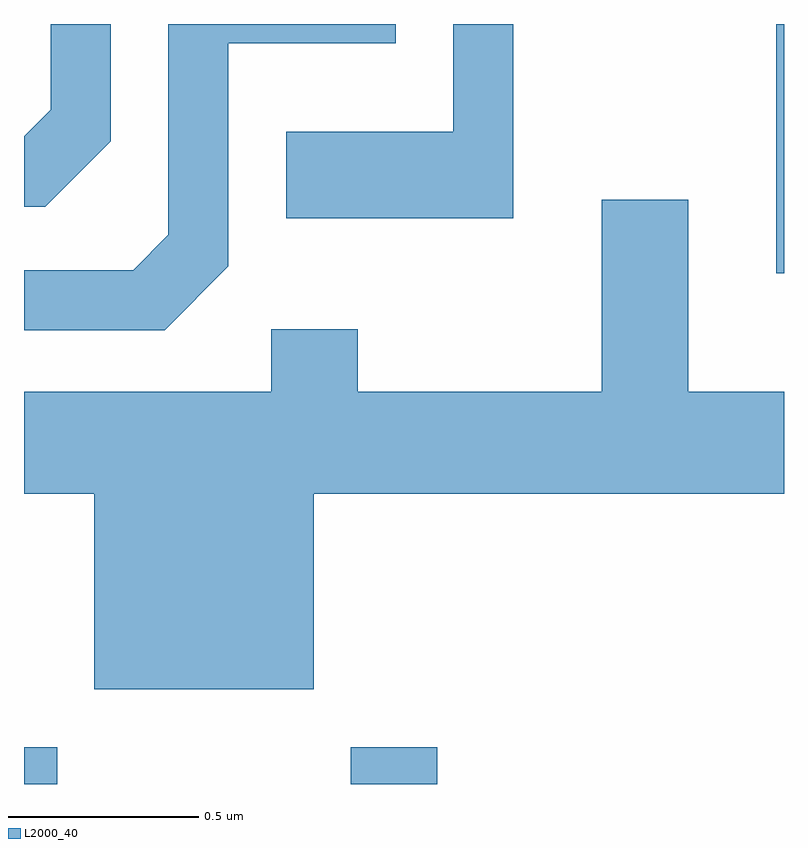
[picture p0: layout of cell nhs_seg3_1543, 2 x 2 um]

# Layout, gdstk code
import gdstk
lib = gdstk.Library(unit=1e-6, precision=1e-09)
def R(c, l, rs):  # rectangles x0, y0, x1, y1
    for r in rs: c.add(gdstk.rectangle(r[:2], r[2:], *l))
def P(c, l, *ps):  # polygons
    for p in ps: c.add(gdstk.Polygon(p, *l))
L2000_40 = (2000, 40)

nhs_seg3_1543 = lib.new_cell('nhs_seg3_1543')
R(nhs_seg3_1543, L2000_40, [(196.611,1151.892,196.699,1151.989), (197.471,1151.892,197.699,1151.989), (198.591,1153.236,198.611,1153.892)])
P(nhs_seg3_1543, L2000_40, [(197.149,1153.254),(197.149,1153.841),(197.589,1153.841),(197.589,1153.892),(196.991,1153.892),(196.991,1153.337),(196.899,1153.244),(196.611,1153.244),(196.611,1153.086),(196.982,1153.086)],
  [(197.899,1153.892),(197.741,1153.892),(197.741,1153.609),(197.301,1153.609),(197.301,1153.381),(197.899,1153.381)],
  [(196.839,1153.584),(196.839,1153.892),(196.681,1153.892),(196.681,1153.667),(196.611,1153.596),(196.611,1153.411),(196.667,1153.411)],
  [(197.374,1152.656),(198.611,1152.656),(198.611,1152.924),(198.359,1152.924),(198.359,1153.429),(198.131,1153.429),(198.131,1152.924),(197.489,1152.924),(197.489,1153.089),(197.261,1153.089),(197.261,1152.924),(196.611,1152.924),(196.611,1152.656),(196.796,1152.656),(196.796,1152.141),(197.374,1152.141)])

lib.write_gds('nhs_seg3_1543.gds')
